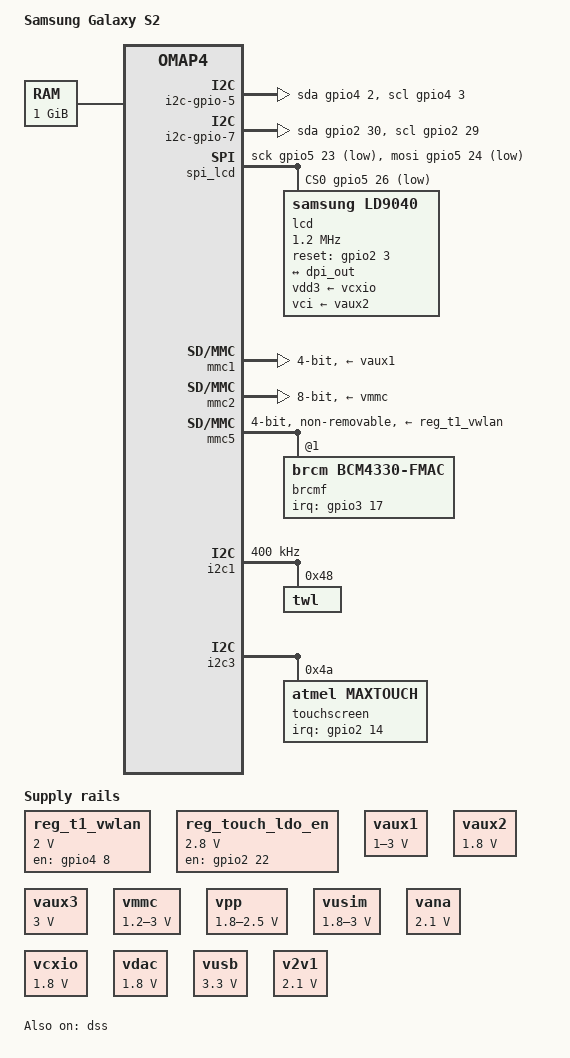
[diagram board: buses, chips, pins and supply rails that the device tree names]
/dts-v1/;

#include "omap443x.dtsi"

/ {
    model = "Samsung Galaxy S2";
    compatible = "samsung,i9100g", "ti,omap4430", "ti,omap4";

	memory@80000000 {
		device_type = "memory";
		reg = <0x80000000 0x40000000>; /* 1 GB */
	};


	reserved-memory {
		#address-cells = <1>;
		#size-cells = <1>;
		ranges;

		framebuffer_region@bef00000 {
			no-map;
			reg = <0xbef00000 (480 * 800 * 4)>;
		};
	};

	chosen {
		#address-cells = <1>;
		#size-cells = <1>;
		ranges;

		framebuffer@bef00000 {
			compatible = "simple-framebuffer";
			reg = <0xbef00000 (480 * 800 * 4)>;
			width = <480>;
			height = <800>;
			stride = <(480 * 4)>;
			format = "a8r8g8b8";

			vci-supply = <&vaux3>;
		};
	};

	i2c-gpio-5 {
		compatible = "i2c-gpio";
		sda-gpios = <&gpio4 2 (GPIO_ACTIVE_HIGH | GPIO_OPEN_DRAIN)>;
		scl-gpios = <&gpio4 3 (GPIO_ACTIVE_HIGH | GPIO_OPEN_DRAIN)>;
		i2c-gpio,delay-us = <10>;
		#address-cells = <1>;
		#size-cells = <0>;
	};

	i2c-gpio-7 {
		compatible = "i2c-gpio";
		sda-gpios = <&gpio2 30 (GPIO_ACTIVE_HIGH | GPIO_OPEN_DRAIN)>;
		scl-gpios = <&gpio2 29 (GPIO_ACTIVE_HIGH | GPIO_OPEN_DRAIN)>;
		i2c-gpio,delay-us = <3>;
		#address-cells = <1>;
		#size-cells = <0>;
	};

	reg_t1_vwlan: regulator-t1-vwlan {
		pinctrl-names = "default";
		pinctrl-0 = <&wlanen_gpio>;
		compatible = "regulator-fixed";
		regulator-name = "vwl1271";
		regulator-max-microvolt = <2000000>;
		regulator-min-microvolt = <2000000>;
		gpio = <&gpio4 8 GPIO_ACTIVE_HIGH>;
		startup-delay-us = <70000>;
		regulator-always-on;
		enable-active-high;
	};

	reg_touch_ldo_en: regulator-touch-ldo-en  {
		compatible = "regulator-fixed";
		regulator-name = "touch_ldo_en";
		regulator-max-microvolt = <2800000>;
		regulator-min-microvolt = <2800000>;
		gpios = <&gpio2 22 GPIO_ACTIVE_HIGH>;
		regulator-always-on;
		enable-active-high;
	};

	spi_lcd: spi {
		compatible = "spi-gpio";
		#address-cells = <1>;
		#size-cells = <0>;
		pinctrl-names = "default";
		pinctrl-0 = <&spi_gpio_pins>;

		num-chipselects = <1>;
		cs-gpios = <&gpio5 26 GPIO_ACTIVE_LOW>;
		sck-gpios = <&gpio5 23 GPIO_ACTIVE_LOW>;
		mosi-gpios = <&gpio5 24 GPIO_ACTIVE_LOW>;

		lcd@0 {
			compatible = "samsung,ld9040";
			reg = <0>;
			vdd3-supply = <&vcxio>;
			vci-supply = <&vaux2>;
			reset-gpios = <&gpio2 3 0>;
			spi-max-frequency = <1200000>;
			spi-cpol;
			spi-cpha;
			power-on-delay = <10>;
			reset-delay = <10>;
			panel-width-mm = <90>;
			panel-height-mm = <154>;
			display-timings {
				timing {
					clock-frequency = <23492370>;
					hactive = <480>;
					vactive = <800>;
					hback-porch = <16>;
					hfront-porch = <16>;
					vback-porch = <2>;
					vfront-porch = <28>;
					hsync-len = <2>;
					vsync-len = <1>;
					hsync-active = <0>;
					vsync-active = <0>;
					de-active = <0>;
					pixelclk-active = <0>;
				};
			};

			port {
				lcd_in: endpoint {
					remote-endpoint = <&dpi_out>;
				};
			};
		};
	};
};

&gpio2_target {
	 ti,no-reset-on-init;
};

&omap4_pmx_wkup {
	twl6030_wkup_pins: pinmux_twl6030_wkup_pins {
		pinctrl-single,pins = <
			OMAP4_IOPAD(0x54, PIN_OUTPUT_PULLUP | MUX_MODE2)
		>;
	};
};

&omap4_pmx_core {
	pinctrl-names = "default";

	i2c1_pins: pinmux_i2c1_pins {
		pinctrl-single,pins = <
			OMAP4_IOPAD(0x122, PIN_INPUT_PULLUP | MUX_MODE0)	/* i2c1_scl */
			OMAP4_IOPAD(0x124, PIN_INPUT_PULLUP | MUX_MODE0)	/* i2c1_sda */
		>;
	};

	i2c2_pins: pinmux_i2c2_pins {
		pinctrl-single,pins = <
			OMAP4_IOPAD(0x126, PIN_INPUT_PULLUP | MUX_MODE0)	/* i2c2_scl */
			OMAP4_IOPAD(0x128, PIN_INPUT_PULLUP | MUX_MODE0)	/* i2c2_sda */
		>;
	};

	i2c3_pins: pinmux_i2c3_pins {
		pinctrl-single,pins = <
			OMAP4_IOPAD(0x12a, PIN_INPUT_PULLUP | MUX_MODE0)	/* i2c3_scl */
			OMAP4_IOPAD(0x12c, PIN_INPUT_PULLUP | MUX_MODE0)	/* i2c3_sda */
		>;
	};

	i2c4_pins: pinmux_i2c4_pins {
		pinctrl-single,pins = <
			OMAP4_IOPAD(0x12e, PIN_INPUT_PULLUP | MUX_MODE0)	/* i2c4_scl */
			OMAP4_IOPAD(0x130, PIN_INPUT_PULLUP | MUX_MODE0)	/* i2c4_sda */
		>;
	};

	spi_gpio_pins: pinmux_spi_gpio_pins {
		pinctrl-single,pins = <
			OMAP4_IOPAD(0x154, PIN_OFF_OUTPUT_LOW | MUX_MODE0)	/* mcspi4_clk */
			OMAP4_IOPAD(0x156, PIN_OFF_OUTPUT_LOW | MUX_MODE0)	/* mcspi4_simo */
			OMAP4_IOPAD(0x15a, PIN_OFF_OUTPUT_LOW | MUX_MODE0)	/* mcspi4_cs0 */
		>;
	};

	panel_rst: pinmux_panel_rst {
		pinctrl-single,pins = <
			OMAP4_IOPAD(0x56, PIN_OUTPUT | MUX_MODE3)
		>;
	};

	touch_pins: pinmux_touch_pins {
		pinctrl-single,pins = <
			OMAP4_IOPAD(0x06c, PIN_INPUT | MUX_MODE3)
		>;
	};

	dss_dpi_pins: pinmux_dss_dpi_pins {
		pinctrl-single,pins = <
			OMAP4_IOPAD(0x162, PIN_OFF_OUTPUT_LOW | MUX_MODE5)	/* dispc2_data23 */
			OMAP4_IOPAD(0x164, PIN_OFF_OUTPUT_LOW | MUX_MODE5)	/* dispc2_data22 */
			OMAP4_IOPAD(0x166, PIN_OFF_OUTPUT_LOW | MUX_MODE5)	/* dispc2_data21 */
			OMAP4_IOPAD(0x168, PIN_OFF_OUTPUT_LOW | MUX_MODE5)	/* dispc2_data20 */
			OMAP4_IOPAD(0x16a, PIN_OFF_OUTPUT_LOW | MUX_MODE5)	/* dispc2_data19 */
			OMAP4_IOPAD(0x16c, PIN_OFF_OUTPUT_LOW | MUX_MODE5)	/* dispc2_data18 */
			OMAP4_IOPAD(0x16e, PIN_OFF_OUTPUT_LOW | MUX_MODE5)	/* dispc2_data15 */
			OMAP4_IOPAD(0x170, PIN_OFF_OUTPUT_LOW | MUX_MODE5)	/* dispc2_data14 */
			OMAP4_IOPAD(0x172, PIN_OFF_OUTPUT_LOW | MUX_MODE5)	/* dispc2_data13 */
			OMAP4_IOPAD(0x174, PIN_OFF_OUTPUT_LOW | MUX_MODE5)	/* dispc2_data12 */
			OMAP4_IOPAD(0x176, PIN_OFF_OUTPUT_LOW | MUX_MODE5)	/* dispc2_data11 */

			OMAP4_IOPAD(0x1b4, PIN_OFF_OUTPUT_LOW | MUX_MODE5)	/* dispc2_data10 */
			OMAP4_IOPAD(0x1b6, PIN_OFF_OUTPUT_LOW | MUX_MODE5)	/* dispc2_data9 */
			OMAP4_IOPAD(0x1b8, PIN_OFF_OUTPUT_LOW | MUX_MODE5)	/* dispc2_data16 */
			OMAP4_IOPAD(0x1ba, PIN_OFF_OUTPUT_LOW | MUX_MODE5)	/* dispc2_data17 */
			OMAP4_IOPAD(0x1bc, PIN_OFF_OUTPUT_LOW | MUX_MODE5)	/* dispc2_hsync */
			OMAP4_IOPAD(0x1be, PIN_OFF_OUTPUT_LOW | MUX_MODE5)	/* dispc2_pclk */
			OMAP4_IOPAD(0x1c0, PIN_OFF_OUTPUT_LOW | MUX_MODE5)	/* dispc2_vsync */
			OMAP4_IOPAD(0x1c2, PIN_OFF_OUTPUT_LOW | MUX_MODE5)	/* dispc2_de */
			OMAP4_IOPAD(0x1c4, PIN_OFF_OUTPUT_LOW | MUX_MODE5)	/* dispc2_data8 */
			OMAP4_IOPAD(0x1c6, PIN_OFF_OUTPUT_LOW | MUX_MODE5)	/* dispc2_data7 */
			OMAP4_IOPAD(0x1c8, PIN_OFF_OUTPUT_LOW | MUX_MODE5)	/* dispc2_data6 */
			OMAP4_IOPAD(0x1ca, PIN_OFF_OUTPUT_LOW | MUX_MODE5)	/* dispc2_data5 */
			OMAP4_IOPAD(0x1cc, PIN_OFF_OUTPUT_LOW | MUX_MODE5)	/* dispc2_data4 */
			OMAP4_IOPAD(0x1ce, PIN_OFF_OUTPUT_LOW | MUX_MODE5)	/* dispc2_data3 */

			OMAP4_IOPAD(0x1d0, PIN_OFF_OUTPUT_LOW | MUX_MODE5)	/* dispc2_data2 */
			OMAP4_IOPAD(0x1d2, PIN_OFF_OUTPUT_LOW | MUX_MODE5)	/* dispc2_data1 */
			OMAP4_IOPAD(0x1d4, PIN_OFF_OUTPUT_LOW | MUX_MODE5)	/* dispc2_data0 */
		>;
	};

	mmc1_pins: pinmux_mmc1_pins {
		pinctrl-single,pins = <
			OMAP4_IOPAD(0x0e2, PIN_INPUT_PULLDOWN | MUX_MODE0)	/* sdmmc1_clk */
			OMAP4_IOPAD(0x0e4, PIN_INPUT_PULLUP | MUX_MODE0)	/* sdmcc1_cmd */
			OMAP4_IOPAD(0x0e6, PIN_INPUT_PULLUP | MUX_MODE0)	/* sdmcc1_dat0 */
			OMAP4_IOPAD(0x0e8, PIN_INPUT_PULLUP | MUX_MODE0)	/* sdmmc1_dat1 */
			OMAP4_IOPAD(0x0ea, PIN_INPUT_PULLUP | MUX_MODE0)	/* sdmmc1_dat2 */
			OMAP4_IOPAD(0x0ec, PIN_INPUT_PULLUP | MUX_MODE0)	/* sdmmc1_dat3 */
		>;
	};

	mmc2_pins: pinmux_mmc2_pins {
		pinctrl-single,pins = <
			OMAP4_IOPAD(0x040, PIN_INPUT_PULLUP | MUX_MODE1)	/* sdmmc2_dat0 */
			OMAP4_IOPAD(0x042, PIN_INPUT_PULLUP | MUX_MODE1)	/* sdmmc2_dat1 */
			OMAP4_IOPAD(0x044, PIN_INPUT_PULLUP | MUX_MODE1)	/* sdmmc2_dat2 */
			OMAP4_IOPAD(0x046, PIN_INPUT_PULLUP | MUX_MODE1)	/* sdmmc2_dat3 */
			OMAP4_IOPAD(0x048, PIN_INPUT_PULLUP | MUX_MODE1)	/* sdmmc2_dat4 */
			OMAP4_IOPAD(0x04a, PIN_INPUT_PULLUP | MUX_MODE1)	/* sdmmc2_dat5 */
			OMAP4_IOPAD(0x04c, PIN_INPUT_PULLUP | MUX_MODE1)	/* sdmmc2_dat6 */
			OMAP4_IOPAD(0x04e, PIN_INPUT_PULLUP | MUX_MODE1)	/* sdmmc2_dat7 */
			OMAP4_IOPAD(0x082, PIN_INPUT_PULLUP | MUX_MODE1)	/* sdmmc2_clk */
			OMAP4_IOPAD(0x084, PIN_INPUT_PULLUP | MUX_MODE1)	/* sdmmc2_cmd */
		>;
	};

	mmc5_pins: pinmux_mmc5_pins {
		pinctrl-single,pins = <
			OMAP4_IOPAD(0x148, PIN_INPUT_PULLUP | MUX_MODE0)	/* sdmmc5_clk */
			OMAP4_IOPAD(0x14a, PIN_INPUT_PULLUP | MUX_MODE0)	/* sdmmc5_cmd */
			OMAP4_IOPAD(0x14c, PIN_INPUT_PULLUP | MUX_MODE0)	/* sdmmc5_dat0 */
			OMAP4_IOPAD(0x14e, PIN_INPUT_PULLUP | MUX_MODE0)	/* sdmmc5_dat1 */
			OMAP4_IOPAD(0x150, PIN_INPUT_PULLUP | MUX_MODE0)	/* sdmmc5_dat2 */
			OMAP4_IOPAD(0x152, PIN_INPUT_PULLUP | MUX_MODE0)	/* sdmmc5_dat3 */
		>;
	};

	wlan_host_wake: pinmux_wlan_host_wake {
		pinctrl-single,pins = <
			OMAP4_IOPAD(0x0bc, WAKEUP_EN | PIN_INPUT | MUX_MODE3)
		>;
	};

	wlanen_gpio: pinmux_wlanen_gpio {
		pinctrl-single,pins = <
			OMAP4_IOPAD(0x096, PIN_OUTPUT | MUX_MODE3)		/* gpmc_ncs7.gpio_104 */
		>;
	};

	twl6030_pins: pinmux_twl6030_pins {
		pinctrl-single,pins = <
			OMAP4_IOPAD(0x19e, WAKEUP_EN | PIN_INPUT_PULLUP | MUX_MODE0)	/* sys_nirq1.sys_nirq1 */
		>;
	};
};

&mmc1 {
	status = "okay";
	pinctrl-names = "default";
	pinctrl-0 = <&mmc1_pins>;

	vmmc-supply = <&vaux1>;
	bus-width = <4>;
};

&mmc2 {
	pinctrl-names = "default";
	pinctrl-0 = <&mmc2_pins>;

	vmmc-supply = <&vmmc>;
	ti,non-removable;
	bus-width = <8>;
};

&mmc5 {
	status = "okay";

	#address-cells = <1>;
	#size-cells = <0>;

	non-removable;
	bus-width = <4>;
	vmmc-supply = <&reg_t1_vwlan>;

	pinctrl-names = "default";
	pinctrl-0 = <&mmc5_pins>;

	brcmf: wifi@1 {
		compatible = "brcm,bcm4330-fmac";
		reg = <1>;

		interrupt-parent = <&gpio3>;
		interrupts = <17 IRQ_TYPE_LEVEL_HIGH>;
		interrupt-names = "host-wake";
		pinctrl-names = "default";
		pinctrl-0 = <&wlan_host_wake>;
	};
};

&i2c1 {
	// We need i2c1 muxed early on the boot process for pmic
	// bootloader already done it for us
	// pinctrl-names = "default";
	// pinctrl-0 = <&i2c1_pins>;

	clock-frequency = <400000>;

	twl: twl@48 {
		reg = <0x48>;

		pinctrl-names = "default";
		pinctrl-0 = <
			&twl6030_pins
			&twl6030_wkup_pins
		>;

		/* SPI = 0, IRQ# = 7, 4 = active high level-sensitive */
		interrupts = <GIC_SPI 7 IRQ_TYPE_LEVEL_HIGH>; /* IRQ_SYS_1N cascaded to gic */
		interrupt-parent = <&gic>;

		twl_power: power {
			compatible = "ti,twl6030-power";
			ti,system-power-controller;
		};
	};
};

&dss {
	status = "okay";

	pinctrl-names = "default";
	pinctrl-0 = <&dss_dpi_pins>;

	port {
		dpi_out: endpoint {
			remote-endpoint = <&lcd_in>;
			data-lines = <24>;
		};
	};
};

#include "twl6030.dtsi"
#include "twl6030_omap4.dtsi"

&vaux1 {
	regulator-min-microvolt = <1000000>;
	regulator-max-microvolt = <3000000>;
	regulator-always-on;
};

&vaux2 {
	regulator-min-microvolt = <1800000>;
	regulator-max-microvolt = <1800000>;
};

&vaux3 {
	regulator-min-microvolt = <3000000>;
	regulator-max-microvolt = <3000000>;
};

&vmmc {
	regulator-min-microvolt = <1200000>;
	regulator-max-microvolt = <3000000>;
};

&vpp {
	regulator-min-microvolt = <1800000>;
	regulator-max-microvolt = <2500000>;
	regulator-state-mem {
		regulator-off-in-suspend;
	};
};

&vusim {
	regulator-min-microvolt = <1800000>;
	regulator-max-microvolt = <3000000>;
	regulator-state-mem {
		regulator-off-in-suspend;
	};
};

&vana {
	regulator-min-microvolt = <2100000>;
	regulator-max-microvolt = <2100000>;
	regulator-always-on;
};

&vcxio {
	regulator-min-microvolt = <1800000>;
	regulator-max-microvolt = <1800000>;
	regulator-always-on;
	regulator-state-mem {
		regulator-off-in-suspend;
	};
};

&vdac {
	regulator-min-microvolt = <1800000>;
	regulator-max-microvolt = <1800000>;
};

&vusb {
	regulator-min-microvolt = <3300000>;
	regulator-max-microvolt = <3300000>;
	regulator-state-mem {
		regulator-off-in-suspend;
	};
};

&v2v1 {
	regulator-min-microvolt = <2100000>;
	regulator-max-microvolt = <2100000>;
	regulator-always-on;
	regulator-state-mem {
		regulator-off-in-suspend;
	};
};

&twl_usb_comparator {
	usb-supply = <&vusb>;
};

&usb_otg_hs {
	interface-type = <1>;
	mode = <3>;
	power = <50>;
};

&i2c3 {
	pinctrl-names = "default";
	pinctrl-0 = <&i2c3_pins>;

	touchscreen@4a {
        	compatible = "atmel,maxtouch";
        	reg = <0x4a>;
        	pinctrl-names = "default";
        	pinctrl-0 = <&touch_pins>;

		interrupt-parent = <&gpio2>;
		interrupts = <14 IRQ_TYPE_EDGE_FALLING>;
	};
};
